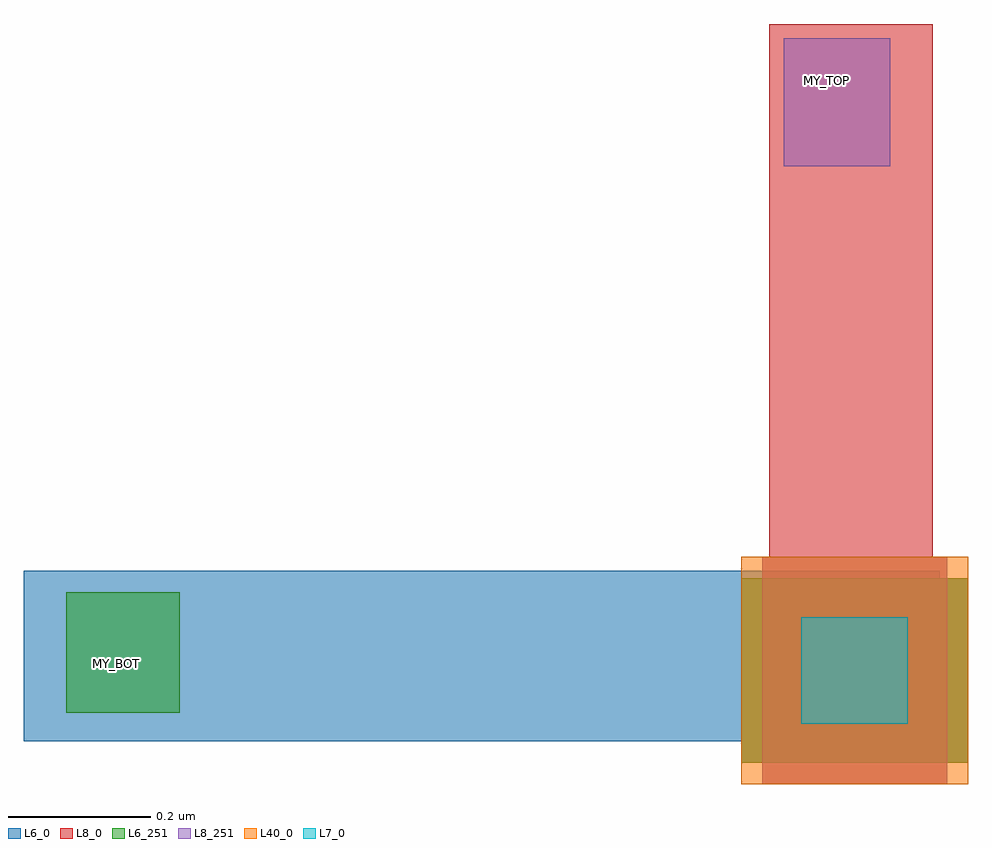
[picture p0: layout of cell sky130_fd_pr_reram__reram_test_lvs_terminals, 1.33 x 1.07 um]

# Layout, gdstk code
import gdstk
lib = gdstk.Library(unit=1e-6, precision=1e-09)
def R(c, l, rs):  # rectangles x0, y0, x1, y1
    for r in rs: c.add(gdstk.rectangle(r[:2], r[2:], *l))
L6_0 = (6, 0)
L6_251 = (6, 251)
L7_0 = (7, 0)
L8_0 = (8, 0)
L8_251 = (8, 251)
L40_0 = (40, 0)

sky130_fd_pr_reram__rera = lib.new_cell('sky130_fd_pr_reram__reram_cell')
R(sky130_fd_pr_reram__rera, L6_0, [(-0.16,-0.13,0.16,0.13)])
R(sky130_fd_pr_reram__rera, L6_251, [(-0.16,-0.13,0.16,0.13)])
R(sky130_fd_pr_reram__rera, L7_0, [(-0.075,-0.075,0.075,0.075)])
R(sky130_fd_pr_reram__rera, L8_0, [(-0.13,-0.16,0.13,0.16)])
R(sky130_fd_pr_reram__rera, L8_251, [(-0.13,-0.16,0.13,0.16)])
R(sky130_fd_pr_reram__rera, L40_0, [(-0.16,-0.16,0.16,0.16)])
sky130_fd_pr_reram__rera.add(gdstk.Label('TE', (0,0), layer=8, texttype=237))
sky130_fd_pr_reram__rera.add(gdstk.Label('BE', (0,0), layer=6, texttype=237))

c_sky130_fd_pr_reram__rera = lib.new_cell('sky130_fd_pr_reram__reram_test_lvs_terminals')
R(c_sky130_fd_pr_reram__rera, L6_0, [(-0.86,0.1,0.43,0.34)])
R(c_sky130_fd_pr_reram__rera, L6_251, [(-0.8,0.14,-0.64,0.31)])
R(c_sky130_fd_pr_reram__rera, L8_0, [(0.19,0.1,0.42,1.11)])
R(c_sky130_fd_pr_reram__rera, L8_251, [(0.21,0.91,0.36,1.09)])
c_sky130_fd_pr_reram__rera.add(gdstk.Reference(sky130_fd_pr_reram__rera, (0.31,0.2)))
c_sky130_fd_pr_reram__rera.add(gdstk.Label('MY_TOP', (0.27,1.03), layer=8, texttype=237))
c_sky130_fd_pr_reram__rera.add(gdstk.Label('MY_BOT', (-0.73,0.21), layer=6, texttype=237))

lib.write_gds('sky130_fd_pr_reram__reram_test_lvs_terminals.gds')
